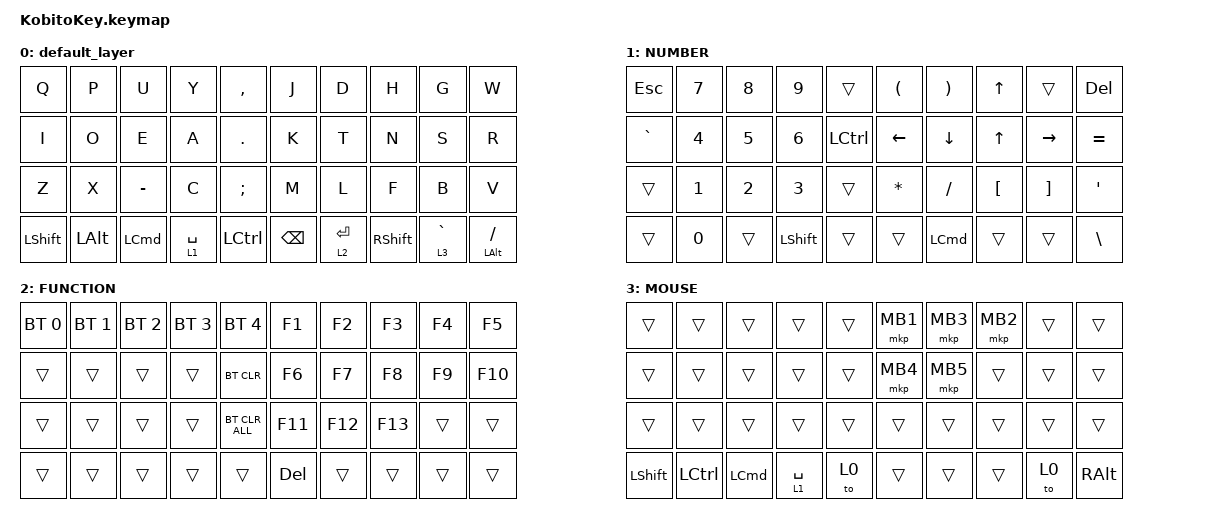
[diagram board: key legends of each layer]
#include <input/processors.dtsi>
#include <behaviors.dtsi>
#include <dt-bindings/zmk/bt.h>
#include <dt-bindings/zmk/keys.h>
#include <dt-bindings/zmk/pointing.h>

/ {
    combos {
        compatible = "zmk,combos";

        combo_eisu {
            timeout-ms = <50>;
            key-positions = <12 13>;
            bindings = <&kp LANG2>;
        };

        combo_kana {
            timeout-ms = <50>;
            key-positions = <16 17>;
            bindings = <&kp LANG1>;
        };

        combo_esc {
            timeout-ms = <50>;
            key-positions = <0 1>;
            bindings = <&kp ESC>;
        };

        combo_tab {
            timeout-ms = <50>;
            key-positions = <10 11>;
            bindings = <&kp TAB>;
        };
    };

    keymap {
        compatible = "zmk,keymap";

        default_layer {
            bindings = <
&kp Q      &kp P     &kp U      &kp Y        &kp COMMA      &kp J     &kp D        &kp H      &kp G        &kp W
&kp I      &kp O     &kp E      &kp A        &kp PERIOD     &kp K     &kp T        &kp N      &kp S        &kp R
&kp Z      &kp X     &kp MINUS  &kp C        &kp SEMICOLON  &kp M     &kp L        &kp F      &kp B        &kp V
&kp LSHFT  &kp LALT  &kp LCMD   &lt 1 SPACE  &kp LCTRL      &kp BSPC  &lt 2 ENTER  &kp RSHFT  &lt 3 GRAVE  &mt LALT SLASH
            >;
        };

        layer1 {
            label = "NUMBER";
            bindings = <
&kp ESCAPE  &kp N7  &kp N8  &kp N9     &trans     &kp LEFT_PARENTHESIS  &kp RIGHT_PARENTHESIS  &kp UP        &trans     &kp DELETE
&kp GRAVE   &kp N4  &kp N5  &kp N6     &kp LCTRL  &kp LEFT_ARROW        &kp DOWN_ARROW         &kp UP_ARROW  &kp RIGHT  &kp EQUAL
&trans      &kp N1  &kp N2  &kp N3     &trans     &kp ASTRK             &kp SLASH              &kp LBKT      &kp RBKT   &kp SQT
&trans      &kp N0  &trans  &kp LSHFT  &trans     &trans                &kp LEFT_COMMAND       &trans        &trans     &kp BACKSLASH
            >;
        };

        layer2 {
            label = "FUNCTION";
            bindings = <
&bt BT_SEL 0  &bt BT_SEL 1  &bt BT_SEL 2  &bt BT_SEL 3  &bt BT_SEL 4    &kp F1   &kp F2   &kp F3   &kp F4  &kp F5
&trans        &trans        &trans        &trans        &bt BT_CLR      &kp F6   &kp F7   &kp F8   &kp F9  &kp F10
&trans        &trans        &trans        &trans        &bt BT_CLR_ALL  &kp F11  &kp F12  &kp F13  &trans  &trans
&trans        &trans        &trans        &trans        &trans          &kp DEL  &trans   &trans   &trans  &trans
            >;
        };

        layer3 {
            label = "MOUSE";
            bindings = <
&trans     &trans     &trans    &trans       &trans  &mkp MB1  &mkp MB3  &mkp MB2  &trans  &trans
&trans     &trans     &trans    &trans       &trans  &mkp MB4  &mkp MB5  &trans    &trans  &trans
&trans     &trans     &trans    &trans       &trans  &trans    &trans    &trans    &trans  &trans
&kp LSHFT  &kp LCTRL  &kp LCMD  &lt 1 SPACE  &to 0   &trans    &trans    &trans    &to 0   &kp RALT
            >;
        };
    };
};
